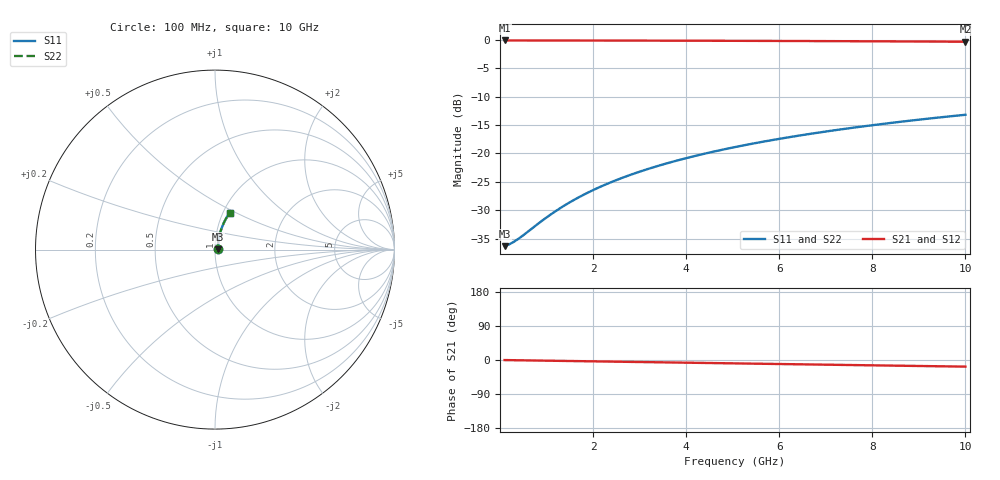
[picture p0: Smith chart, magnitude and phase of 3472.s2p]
# Hz S RI R 50.00
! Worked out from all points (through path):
!   100 points, 100 MHz to 10 GHz, reference 50 ohm
!   highest |S21| = -0.13 dB at 100 MHz (marker M1); lowest = -0.4 dB at 10 GHz (marker M2)
!   group delay of S21, straight-line fit = 4.87 ps
!   lowest |S11| = -36.3 dB at 100 MHz (marker M3), VSWR 1.03, Z = 51.5 + j0.227 ohm
!   |S11| at or under -10 dB: start of sweep to end of sweep
!   |S22| runs from -36.3 to -13.2 dB; largest |S21 - S12| = 0
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1e8  0.0151 0.0022  0.9849 -0.00305  0.9849 -0.00305  0.0151 0.0022
2e8  0.0153 0.0044  0.9847 -0.0061  0.9847 -0.0061  0.0153 0.0044
3e8  0.0154 0.0066  0.9846 -0.00915  0.9846 -0.00915  0.0154 0.0066
4e8  0.0155 0.0088  0.9845 -0.0122  0.9845 -0.0122  0.0155 0.0088
1e9  0.0163 0.022  0.9837 -0.0305  0.9837 -0.0305  0.0163 0.022
1.3e9  0.0168 0.0285  0.9831 -0.0396  0.9831 -0.0396  0.0168 0.0285
1.5e9  0.0172 0.0329  0.9827 -0.0457  0.9827 -0.0457  0.0172 0.0329
1.8e9  0.018 0.0395  0.9819 -0.0548  0.9819 -0.0548  0.018 0.0395
2.1e9  0.0188 0.046  0.981 -0.0639  0.981 -0.0639  0.0188 0.046
2.5e9  0.0202 0.0547  0.9796 -0.0759  0.9796 -0.0759  0.0202 0.0547
2.9e9  0.0217 0.0633  0.978 -0.088  0.978 -0.088  0.0217 0.0633
3.4e9  0.0239 0.074  0.9757 -0.103  0.9757 -0.103  0.0239 0.074
3.8e9  0.0258 0.0825  0.9736 -0.1149  0.9736 -0.1149  0.0258 0.0825
4.2e9  0.028 0.091  0.9713 -0.1267  0.9713 -0.1267  0.028 0.091
4.6e9  0.0304 0.0994  0.9688 -0.1385  0.9688 -0.1385  0.0304 0.0994
5.1e9  0.0337 0.1097  0.9653 -0.1532  0.9653 -0.1532  0.0337 0.1097
5.9e9  0.0396 0.1261  0.9591 -0.1764  0.9591 -0.1764  0.0396 0.1261
6.7e9  0.0462 0.142  0.9521 -0.1992  0.9521 -0.1992  0.0462 0.142
7.5e9  0.0536 0.1576  0.9443 -0.2216  0.9443 -0.2216  0.0536 0.1576
8.4e9  0.0627 0.1746  0.9346 -0.2463  0.9346 -0.2463  0.0627 0.1746
9.2e9  0.0715 0.1891  0.9253 -0.2677  0.9253 -0.2677  0.0715 0.1891
1e10  0.081 0.2032  0.9153 -0.2886  0.9153 -0.2886  0.081 0.2032
